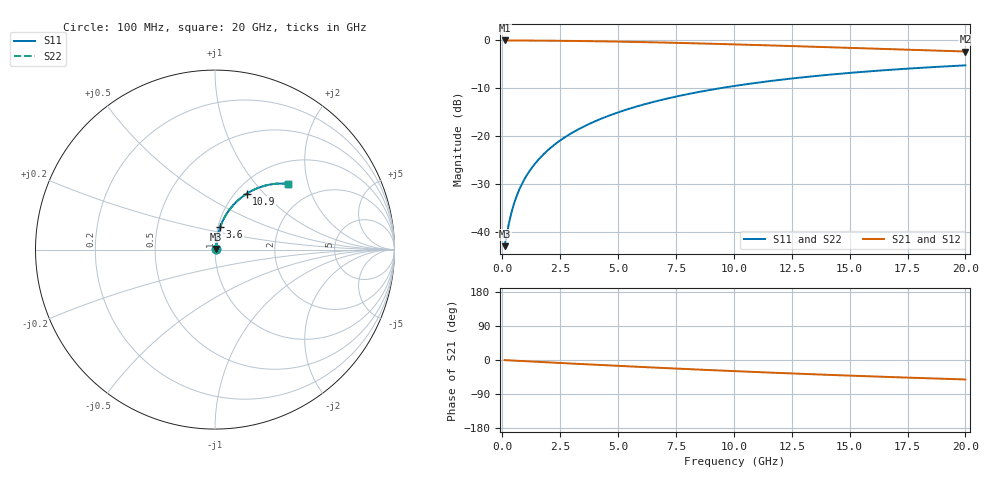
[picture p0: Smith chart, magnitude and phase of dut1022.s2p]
! Touchstone file exported from HFSS 2024.1.0
!  File:  C:/UserFiles/LocalFiles/RDL_TSV_Batchsim/temp_RDL_bottom_1022_1780050770.aedt
!  Generated:  06:35:16 PM May 29, 2026
!  Design:  RDL_bottom
!  Project:  temp_RDL_bottom_1022_1780050770
!  Setup:  Setup1
!  Solution:  Sweep
! Variables:
!  dtsv = 10.80580581um
!  hbump = 3um
!  htsv = 78.62um
!  ldown = 685.24um
!  lrdl = 100um
!  p = 40
!  p1 = 49.91um
!  rhole = 1um
!  t = 450um
!  tdown = 3.42um
!  trdl = 3.915915916um
!  wdown = 11.67um
!  wrdl = 20um
# GHz S MA R 50.000000
! Terminal data exported
! Port[1] = RDL1_T1
! Port[2] = RDL1_T2
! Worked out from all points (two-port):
!   200 points, 100 MHz to 20 GHz, reference 50 ohm
!   highest |S21| = -0.05 dB at 100 MHz (marker M1); lowest = -2.4 dB at 20 GHz (marker M2)
!   |S21| within 3 dB of the highest: start of sweep to end of sweep
!   lowest |S11| = -42.9 dB at 100 MHz (marker M3), VSWR 1.01, Z = 50.6 + j0.378 ohm
!   |S11| at or under -10 dB: start of sweep to 9.413 GHz
!   |S22| runs from -42.9 to -5.2 dB; largest |S21 - S12| = 2.6e-15
!   S11 on the Smith chart (normalised r, x): 100 MHz: 1.01, +0.01; 3.6 GHz: 1.03, +0.26; 10.9 GHz: 1.12, +0.80; 20 GHz: 1.44, +1.50
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0.1  0.007151 31.4  0.9939 -0.3  0.9939 -0.3  0.007151 31.4
! Gamma 0 0 0 0
! Port Impedance 50 0 50 0
0.3  0.01283 60.1  0.9937 -1.0  0.9937 -1.0  0.01283 60.1
0.4  0.01618 65.9  0.9935 -1.3  0.9935 -1.3  0.01618 65.9
0.5  0.01962 69.5  0.9933 -1.6  0.9933 -1.6  0.01962 69.5
0.6  0.0231 72.0  0.9931 -1.9  0.9931 -1.9  0.0231 72.0
0.8  0.03011 75.0  0.9926 -2.6  0.9926 -2.6  0.03011 75.0
1.1  0.04069 77.4  0.9918 -3.5  0.9918 -3.5  0.04069 77.4
1.5  0.05485 78.7  0.9906 -4.7  0.9906 -4.7  0.05485 78.7
1.8  0.06549 79.0  0.9894 -5.7  0.9894 -5.7  0.06549 79.0
2.1  0.07612 79.0  0.9881 -6.6  0.9881 -6.6  0.07612 79.0
2.7  0.09734 78.5  0.985 -8.5  0.985 -8.5  0.09734 78.5
3.5  0.1254 77.3  0.9797 -10.9  0.9797 -10.9  0.1254 77.3
3.6  0.1289 77.1  0.979 -11.2  0.979 -11.2  0.1289 77.1
4.3  0.1531 75.7  0.9733 -13.4  0.9733 -13.4  0.1531 75.7
5  0.177 74.2  0.9669 -15.5  0.9669 -15.5  0.177 74.2
6.8  0.2364 70.1  0.9474 -20.7  0.9474 -20.7  0.2365 70.1
8.3  0.2833 66.5  0.9285 -24.8  0.9285 -24.8  0.2833 66.5
10.1  0.3358 62.3  0.9038 -29.6  0.9038 -29.6  0.3358 62.3
10.9  0.3577 60.5  0.8924 -31.6  0.8924 -31.6  0.3578 60.5
13.4  0.4206 54.9  0.8558 -37.6  0.8558 -37.6  0.4207 54.9
16.7  0.4906 48.2  0.8077 -44.9  0.8077 -44.9  0.4907 48.2
20  0.5469 42.1  0.7624 -51.4  0.7624 -51.4  0.5471 42.1
